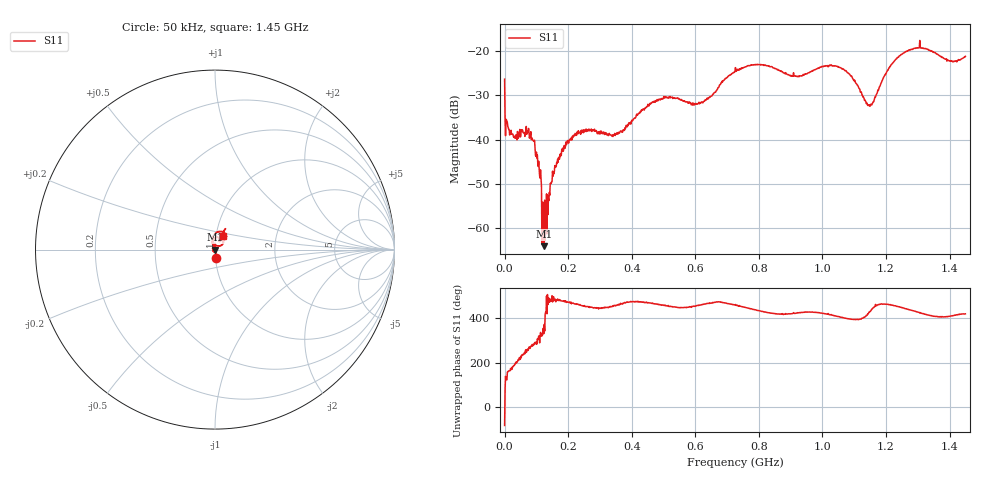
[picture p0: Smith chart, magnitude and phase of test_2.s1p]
! Created with skrf 1.11.0 (http://scikit-rf.org).
# Hz S RI R 50.0
!freq ReS11 ImS11
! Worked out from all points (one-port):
!   1001 points, 50 kHz to 1.45 GHz, reference 50 ohm
!   lowest |S11| = -64.0 dB at 124.7 MHz (marker M1), VSWR 1.00, Z = 50.1 + j0.0131 ohm
!   |S11| at or under -10 dB: start of sweep to end of sweep
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50000  0.00652 -0.0476
8749700  -0.0144 0.00586
2.179925e7  -0.0115 0.000698
7.54474e7  -0.00199 -0.0132
8.849695e7  0.00096 -0.00983
1.087962e8  0.00358 -0.00303
1.17496e8  0.000511 -0.000423
1.247457e8  0.000615 0.000131
1.319954e8  -0.00186 0.00158
1.508448e8  -0.00174 0.00405
1.812938e8  -0.00347 0.00663
2.204424e8  -0.00269 0.0107
2.479914e8  -0.00124 0.0119
3.625375e8  -0.00229 0.0119
4.62584e8  -0.00757 0.0248
5.437812e8  0.000844 0.0296
6.206286e8  -0.0053 0.0261
7.25025e8  -0.00978 0.0578
8.033223e8  0.0209 0.0667
9.062688e8  0.0254 0.0454
1.028065e9  0.0386 0.0581
1.087512e9  0.0427 0.0317
1.14986e9  0.00796 0.0224
1.215108e9  -0.0114 0.0682
1.268756e9  0.0174 0.0985
1.313705e9  0.0505 0.0942
1.407951e9  0.0485 0.06
1.45e9  0.044 0.0749
